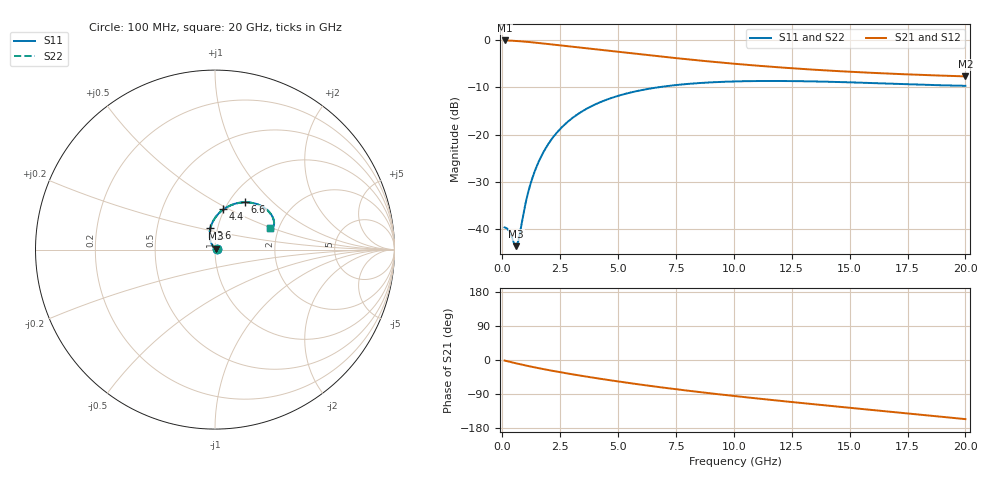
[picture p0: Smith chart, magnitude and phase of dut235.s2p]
! Touchstone file exported from HFSS 2024.1.0
!  File:  C:/UserFiles/LocalFiles/RDL_TSV_Batchsim/temp_RDL_TSV_235_1779452510.aedt
!  Generated:  08:34:09 PM May 22, 2026
!  Design:  RDL_TSV
!  Project:  temp_RDL_TSV_235_1779452510
!  Setup:  Setup1
!  Solution:  Sweep
! Variables:
!  dtsv = 13.52um
!  hbump = 3um
!  htsv = 50.33um
!  ldown = 308.63um
!  lrdl = 350um
!  p = 40
!  p1 = 57.74um
!  rhole = 10um
!  subl = 2325.89um
!  t = 450um
!  tdown = 3.88um
!  trdl = 3.81um
!  viad = 10um
!  wdown = 24.06um
!  wrdl = 20.01um
!  xbump = 18um
# GHz S MA R 50.000000
! Terminal data exported
! Port[1] = TM1_1_T1
! Port[2] = TM1_4_T1
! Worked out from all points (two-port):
!   200 points, 100 MHz to 20 GHz, reference 50 ohm
!   highest |S21| = -0.10 dB at 100 MHz (marker M1); lowest = -7.7 dB at 20 GHz (marker M2)
!   |S21| within 3 dB of the highest: start of sweep to 6.105 GHz
!   lowest |S11| = -43.5 dB at 600 MHz (marker M3), VSWR 1.01, Z = 50.3 + j0.575 ohm
!   |S11| at or under -10 dB: start of sweep to 6.717 GHz
!   |S22| runs from -43.5 to -8.7 dB; largest |S21 - S12| = 1.5e-14
!   S11 on the Smith chart (normalised r, x): 100 MHz: 1.02, +0.00; 2.6 GHz: 0.92, +0.22; 4.4 GHz: 0.99, +0.47; 6.6 GHz: 1.18, +0.69; 20 GHz: 1.79, +0.49
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0.1  0.01049 5.4  0.989 -1.5  0.989 -1.5  0.01049 5.4
! Gamma 0 0 0 0
! Port Impedance 50 0 50 0
0.3  0.009574 14.6  0.9855 -4.5  0.9855 -4.5  0.009576 14.6
0.5  0.007218 36.1  0.9801 -7.4  0.9801 -7.4  0.007223 36.0
0.6  0.006648 59.1  0.9768 -8.8  0.9768 -8.8  0.006652 59.1
0.7  0.007656 85.2  0.9731 -10.2  0.9731 -10.2  0.007654 85.1
0.9  0.01413 112.9  0.9646 -13.0  0.9646 -13.0  0.01411 112.9
1.1  0.02371 120.2  0.955 -15.6  0.955 -15.6  0.02368 120.1
1.4  0.04099 120.2  0.9391 -19.5  0.9391 -19.5  0.04095 120.2
1.6  0.0537 118.0  0.928 -21.9  0.928 -21.9  0.05364 118.0
1.9  0.07376 113.6  0.911 -25.5  0.911 -25.5  0.07367 113.6
2.2  0.09435 108.8  0.8941 -28.9  0.8941 -28.9  0.09424 108.8
2.6  0.1217 102.4  0.8718 -33.3  0.8718 -33.3  0.1216 102.4
3.5  0.1795 89.3  0.8239 -42.5  0.8239 -42.5  0.1792 89.2
4.4  0.2291 78.1  0.7787 -51.1  0.7787 -51.1  0.2287 78.1
5.4  0.2735 67.7  0.7315 -60.1  0.7315 -60.1  0.2731 67.7
6.6  0.3131 57.5  0.6792 -70.1  0.6792 -70.1  0.3126 57.4
6.8  0.3184 55.9  0.671 -71.7  0.671 -71.7  0.3179 55.9
8.4  0.3495 45.4  0.6113 -83.8  0.6113 -83.8  0.3489 45.4
10.1  0.3655 36.9  0.5592 -95.5  0.5592 -95.5  0.3648 36.9
13.4  0.3655 26.1  0.4867 -116.4  0.4867 -116.4  0.3647 26.0
16.7  0.3463 21.3  0.4416 -136.2  0.4416 -136.2  0.3456 21.2
20  0.3281 21.8  0.4128 -156.0  0.4128 -156.0  0.3274 21.8
